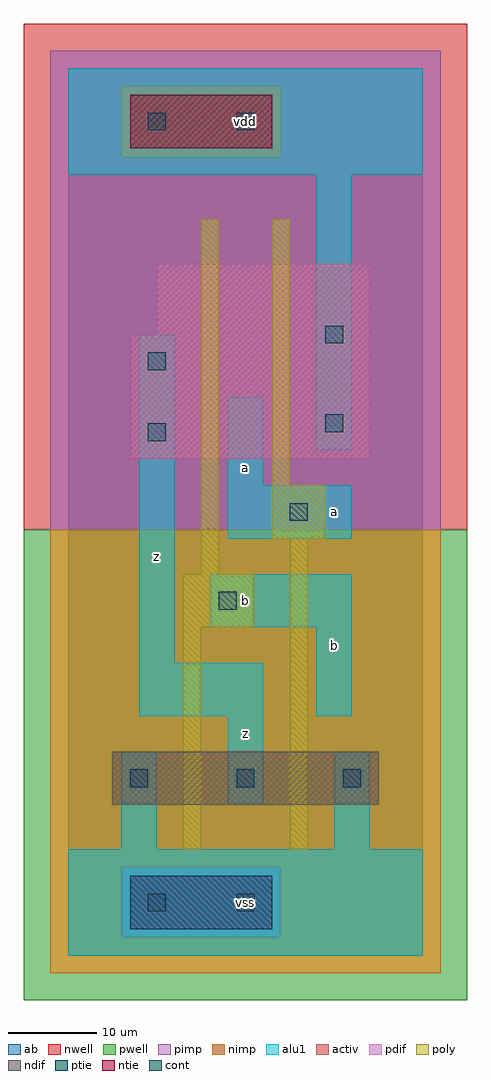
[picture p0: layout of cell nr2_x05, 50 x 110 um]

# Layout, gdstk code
import gdstk
lib = gdstk.Library(unit=1e-6, precision=1e-09)
def R(c, l, rs):  # rectangles x0, y0, x1, y1
    for r in rs: c.add(gdstk.rectangle(r[:2], r[2:], *l))
def A(c, l, x, y, w, h, nx, ny, dx, dy):  # array of equal rectangles
    R(c, l, [(x+i*dx, y+j*dy, x+i*dx+w, y+j*dy+h) for i in range(nx) for j in range(ny)])
ndif = (3, 0)
pdif = (4, 0)
ntie = (5, 0)
ptie = (6, 0)
cont = (25, 0)
pwell = (41, 0)
nwell = (42, 0)
activ = (43, 0)
pimp = (44, 0)
nimp = (45, 0)
poly = (46, 0)
alu1 = (49, 0)
ab = (63, 0)

nr2_x05 = lib.new_cell('nr2_x05')
R(nr2_x05, ndif, [(5,17,35,23)])
R(nr2_x05, pdif, [(7,56,34,70), (10,70,34,78)])
R(nr2_x05, ntie, [(7,91,23,97)])
R(nr2_x05, ptie, [(7,3,23,9)])
A(nr2_x05, cont, 7, 19, 2, 2, 3, 1, 12, 0)
R(nr2_x05, cont, [(9,5,11,7), (19,5,21,7), (17,39,19,41), (25,49,27,51), (9,58,11,60), (29,59,31,61), (9,66,11,68), (29,69,31,71), (9,93,11,95), (19,93,21,95)])
R(nr2_x05, pwell, [(-5,-5,45,48)])
R(nr2_x05, nwell, [(-5,48,45,105)])
R(nr2_x05, activ, [(7,3,23,9), (5,17,35,23), (7,56,34,70), (10,70,34,78), (7,91,23,97)])
R(nr2_x05, pimp, [(6,2,24,10), (-2,48,42,90), (-2,90,6,98), (24,90,42,98), (-2,98,42,102)])
R(nr2_x05, nimp, [(-2,-2,42,2), (-2,2,6,10), (24,2,42,10), (-2,10,42,48), (6,90,24,98)])
R(nr2_x05, poly, [(13,12,15,37), (25,12,27,47), (13,37,21,43), (15,43,17,83), (23,47,29,53), (23,53,25,83)])
R(nr2_x05, alu1, [(0,0,40,12), (6,12,10,23), (30,12,34,23), (18,17,22,27), (8,27,22,33), (28,27,32,37), (8,33,12,70), (16,37,32,43), (18,47,32,53), (18,53,22,63), (28,57,32,88), (0,88,40,100)])
R(nr2_x05, ab, [(0,0,40,100)])
nr2_x05.add(gdstk.Label('z', (10,45), layer=49, texttype=0))
nr2_x05.add(gdstk.Label('vss', (20,6), layer=49, texttype=0))
nr2_x05.add(gdstk.Label('z', (20,25), layer=49, texttype=0))
nr2_x05.add(gdstk.Label('b', (20,40), layer=49, texttype=0))
nr2_x05.add(gdstk.Label('a', (20,55), layer=49, texttype=0))
nr2_x05.add(gdstk.Label('vdd', (20,94), layer=49, texttype=0))
nr2_x05.add(gdstk.Label('b', (30,35), layer=49, texttype=0))
nr2_x05.add(gdstk.Label('a', (30,50), layer=49, texttype=0))

lib.write_gds('nr2_x05.gds')
